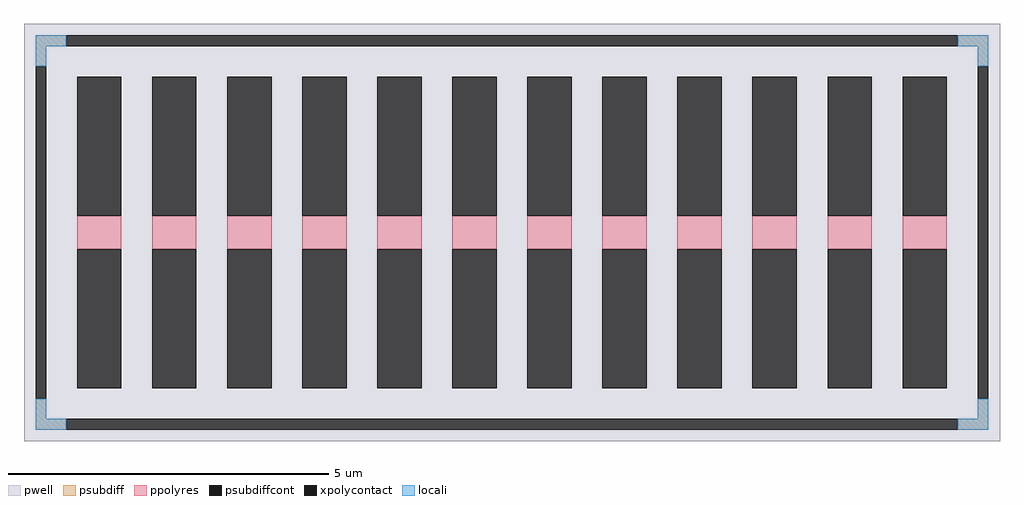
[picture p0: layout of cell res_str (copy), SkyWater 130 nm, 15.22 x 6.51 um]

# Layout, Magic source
magic
tech sky130A
magscale 1 2
<< pwell >>
rect -4487 -250 -1443 1052
<< psubdiff >>
rect -4451 982 -4355 1016
rect -1575 982 -1479 1016
rect -4451 920 -4417 982
rect -1513 920 -1479 982
rect -4451 -180 -4417 -118
rect -1513 -180 -1479 -118
rect -4451 -214 -4355 -180
rect -1575 -214 -1479 -180
<< psubdiffcont >>
rect -4355 982 -1575 1016
rect -4451 -118 -4417 920
rect -1513 -118 -1479 920
rect -4355 -214 -1575 -180
<< xpolycontact >>
rect -4321 454 -4183 886
rect -4321 -84 -4183 348
rect -4087 454 -3949 886
rect -4087 -84 -3949 348
rect -3853 454 -3715 886
rect -3853 -84 -3715 348
rect -3619 454 -3481 886
rect -3619 -84 -3481 348
rect -3385 454 -3247 886
rect -3385 -84 -3247 348
rect -3151 454 -3013 886
rect -3151 -84 -3013 348
rect -2917 454 -2779 886
rect -2917 -84 -2779 348
rect -2683 454 -2545 886
rect -2683 -84 -2545 348
rect -2449 454 -2311 886
rect -2449 -84 -2311 348
rect -2215 454 -2077 886
rect -2215 -84 -2077 348
rect -1981 454 -1843 886
rect -1981 -84 -1843 348
rect -1747 454 -1609 886
rect -1747 -84 -1609 348
<< ppolyres >>
rect -4321 348 -4183 454
rect -4087 348 -3949 454
rect -3853 348 -3715 454
rect -3619 348 -3481 454
rect -3385 348 -3247 454
rect -3151 348 -3013 454
rect -2917 348 -2779 454
rect -2683 348 -2545 454
rect -2449 348 -2311 454
rect -2215 348 -2077 454
rect -1981 348 -1843 454
rect -1747 348 -1609 454
<< locali >>
rect -4451 982 -4355 1016
rect -1575 982 -1479 1016
rect -4451 920 -4417 982
rect -1513 920 -1479 982
rect -4451 -180 -4417 -118
rect -1513 -180 -1479 -118
rect -4451 -214 -4355 -180
rect -1575 -214 -1479 -180
<< properties >>
string FIXED_BBOX -1469 -598 1469 598
string gencell sky130_fd_pr__res_high_po_0p69
string library sky130
string parameters w 0.690 l 0.69 m 1 nx 12 wmin 0.690 lmin 0.50 rho 319.8 val 884.495 dummy 0 dw 0.0 term 194.82 sterm 0.0 caplen 0 guard 1 glc 1 grc 1 gtc 1 gbc 1 compatible {sky130_fd_pr__res_high_po_0p35  sky130_fd_pr__res_high_po_0p69 sky130_fd_pr__res_high_po_1p41  sky130_fd_pr__res_high_po_2p85 sky130_fd_pr__res_high_po_5p73} snake 0 full_metal 1 wmax 0.690 n_guard 0 hv_guard 0 vias 0 viagb 0 viagt 0 viagl 0 viagr 0
<< end >>
